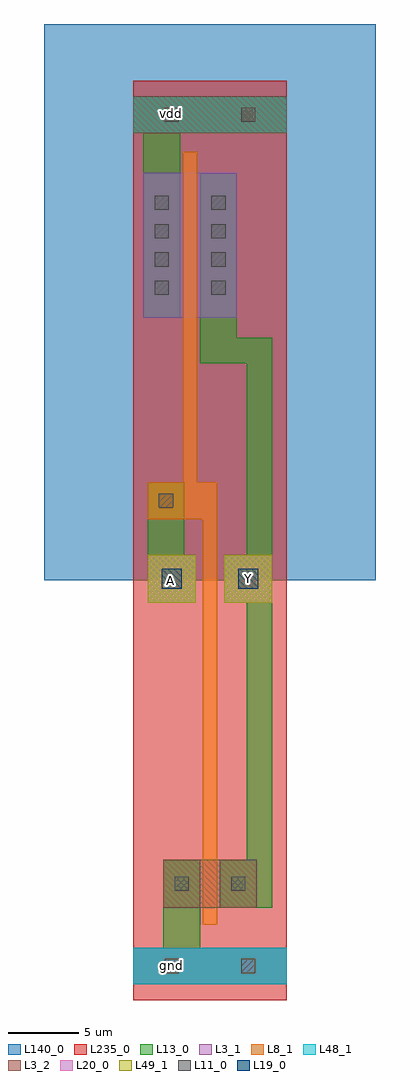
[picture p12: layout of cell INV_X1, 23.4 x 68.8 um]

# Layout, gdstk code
import gdstk
lib = gdstk.Library(unit=1e-6, precision=1e-09)
def R(c, l, rs):  # rectangles x0, y0, x1, y1
    for r in rs: c.add(gdstk.rectangle(r[:2], r[2:], *l))
def A(c, l, x, y, w, h, nx, ny, dx, dy):  # array of equal rectangles
    R(c, l, [(x+i*dx, y+j*dy, x+i*dx+w, y+j*dy+h) for i in range(nx) for j in range(ny)])
def P(c, l, *ps):  # polygons
    for p in ps: c.add(gdstk.Polygon(p, *l))
L3_1 = (3, 1)
L3_2 = (3, 2)
L8_1 = (8, 1)
L11_0 = (11, 0)
L13_0 = (13, 0)
L19_0 = (19, 0)
L20_0 = (20, 0)
L48_1 = (48, 1)
L49_1 = (49, 1)
L140_0 = (140, 0)
L235_0 = (235, 0)

inv_x1 = lib.new_cell('INV_X1')
R(inv_x1, L3_1, [(0,1.1,10.8,3.7), (0.7,48.1,7.3,58.3)])
R(inv_x1, L3_2, [(2.1,6.5,8.7,9.9), (0,61.1,10.8,63.7)])
P(inv_x1, L8_1, [(4.9,5.3),(4.9,11.2),(4.9,33.9),(1,33.9),(1,36.5),(3.5,36.5),(3.5,59.8),(4.5,59.8),(4.5,36.5),(5.9,36.5),(5.9,12.2),(5.9,5.3)])
A(inv_x1, L11_0, 1.5, 49.7, 1, 1, 1, 4, 0, 2)
A(inv_x1, L11_0, 5.5, 49.7, 1, 1, 1, 4, 0, 2)
R(inv_x1, L11_0, [(2.2,1.9,3.2,2.9), (7.6,1.9,8.6,2.9), (7.6,1.9,8.6,2.9), (2.9,7.7,3.9,8.7), (6.9,7.7,7.9,8.7), (1.8,34.7,2.8,35.7), (2.2,61.9,3.2,62.9), (2.2,61.9,3.2,62.9), (7.6,61.9,8.6,62.9), (7.6,61.9,8.6,62.9), (7.6,61.9,8.6,62.9), (7.6,61.9,8.6,62.9)])
R(inv_x1, L13_0, [(2.1,3.7,4.7,9.9), (1,28,4.4,31.4), (1,28,4.4,31.4), (6.4,28,9.8,31.4), (1,31.4,3.6,36.5), (0.7,48.1,3.3,61.1), (0,61.1,10.8,63.7)])
P(inv_x1, L13_0, [(6.1,6.5),(6.1,9.9),(8,9.9),(8,28),(6.4,28),(6.4,31.4),(8,31.4),(8,44.9),(4.7,44.9),(4.7,58.3),(7.3,58.3),(7.3,46.7),(9.8,46.7),(9.8,6.5)],
  [(0,1.1),(0,3.7),(0.7,3.7),(3.3,3.7),(10.8,3.7),(10.8,1.1)])
R(inv_x1, L19_0, [(2,29,3.4,30.4), (7.4,29,8.8,30.4)])
R(inv_x1, L20_0, [(1,28,4.4,31.4), (6.4,28,9.8,31.4)])
R(inv_x1, L48_1, [(0,1.1,10.8,3.7), (0,61.1,10.8,63.7)])
R(inv_x1, L49_1, [(1,28,4.4,31.4), (6.4,28,9.8,31.4)])
R(inv_x1, L140_0, [(-6.3,29.6,17.1,68.8)])
R(inv_x1, L235_0, [(0,0,10.8,64.8)])
inv_x1.add(gdstk.Label('A', (2.6,29.6), layer=49, texttype=0))
inv_x1.add(gdstk.Label('Y', (8.1,29.7), layer=49, texttype=0))
inv_x1.add(gdstk.Label('vdd', (2.7,62.5), layer=48, texttype=0))
inv_x1.add(gdstk.Label('gnd', (2.7,2.4), layer=48, texttype=0))

lib.write_gds('INV_X1.gds')
